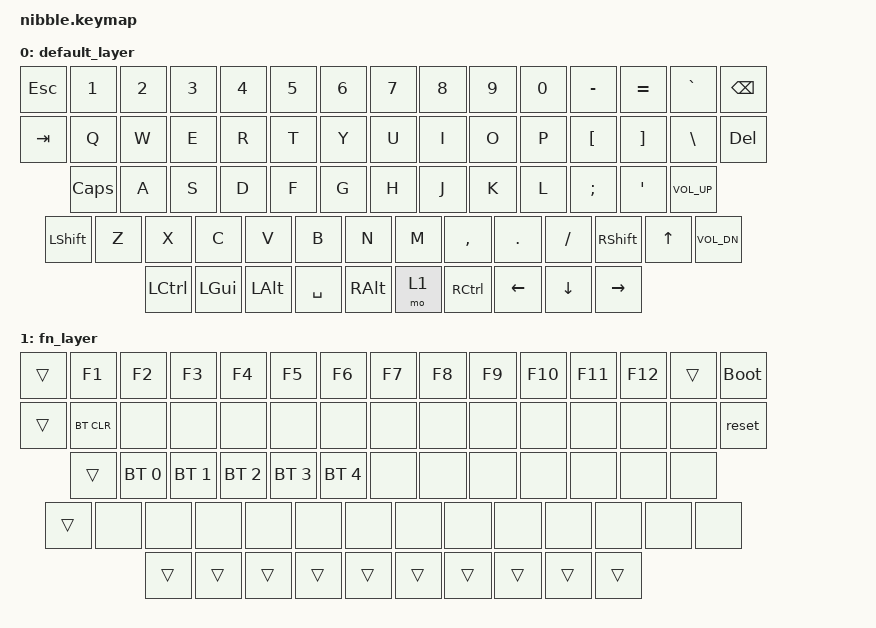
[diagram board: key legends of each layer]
/*
 * Copyright (c) 2020 The ZMK Contributors
 *
 * SPDX-License-Identifier: MIT
 */

#include <behaviors.dtsi>
#include <dt-bindings/zmk/keys.h>
#include <dt-bindings/zmk/bt.h>

/ {
	keymap0: keymap {
		compatible = "zmk,keymap";

		default_layer {
// --------------------------------------------------------------------------------------------------------------
// | ESC |  1  |  2  |  3  |  4  |  5  |  6  |  7  |  8  |  9  |  0  |  -  |  =  |  GRAVE  |        BKSP        |
// | TAB  |  Q  |  W  |  E  |  R  |  T  |  Y  |  U  |  I  |  O  |  P  |  [  |  ]  |       \             |  DEL  |
// | CAPS  |  A  |  S  |  D  |  F  |  G  |  H  |  J  |  K  |  L  |  ;  |  '  |      ENTER            | K_VOL_UP |
// |  SHIFT  |  Z  |  X  |  C  |  V  |  B  |  N  |  M  |  ,  |  .  |  /  |     SHIFT         |  UP  | K_VOL_DN  |
// |  CTL  |  WIN  |  ALT  |            SPACE                | ALT | MO(1) |  CTRL   | LEFT  | DOWN |   RIGHT   |
// --------------------------------------------------------------------------------------------------------------
			bindings = <
	&kp ESC &kp N1 &kp N2 &kp N3 &kp N4 &kp N5 &kp N6 &kp N7 &kp  N8  &kp  N9 &kp  N0  &kp MINUS &kp EQUAL &kp GRAVE     &kp BSPC
	&kp TAB  &kp Q  &kp W  &kp E  &kp R  &kp T  &kp Y  &kp U  &kp   I   &kp  O  &kp   P  &kp LBKT &kp RBKT	 &kp BSLH    &kp DEL
	&kp CLCK  &kp A  &kp S  &kp D  &kp F  &kp G  &kp H  &kp J  &kp   K   &kp  L  &kp SEMI &kp SQT         			     &kp K_VOL_UP
	&kp LSHFT  &kp Z  &kp X  &kp C  &kp V  &kp B  &kp N  &kp M  &kp COMMA &kp DOT &kp FSLH         &kp RSHFT    &kp UP   &kp K_VOL_DN
	&kp LCTRL &kp LGUI &kp LALT               &kp SPACE                 &kp  RALT  &mo  1   &kp  RCTRL &kp LEFT &kp DOWN &kp RIGHT
			>;
		};

		fn_layer {
			bindings = <
	&trans &kp F1 &kp F2 &kp F3 &kp F4 &kp F5 &kp F6 &kp F7 &kp  F8  &kp  F9 &kp  F10  &kp F11 &kp F12 &trans   		   &bootloader
	&trans   &bt BT_CLR  &none  &none  &none  &none  &none  &none  &none   &none  &none  &none &none	 &none      	   &reset
	&trans		 &bt BT_SEL 0  &bt BT_SEL 1  &bt BT_SEL 2  &bt BT_SEL 3  &bt BT_SEL 4 &none &none &none &none &none &none  &none
	&trans	   	    &none  &none  &none  &none  &none  &none  &none  &none &none &none  &none  		 	         &none     &none
	&trans 	&trans	 &trans             &trans                        &trans   &trans   &trans  	   	&trans   &trans    &trans
			>;
        };
    };
};
